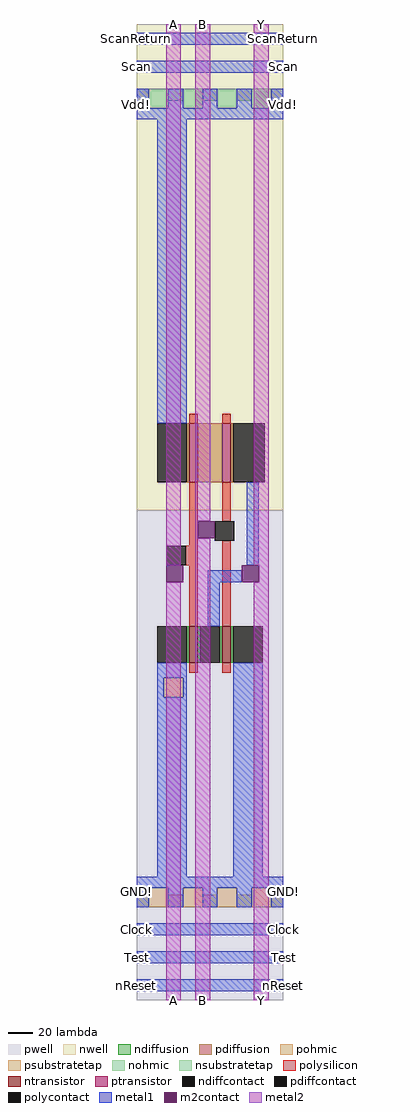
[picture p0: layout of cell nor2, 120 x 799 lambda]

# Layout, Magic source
magic
tech c035u
<< nwell >>
rect 0 401 120 799
<< pwell >>
rect 0 0 120 401
<< polysilicon >>
rect 43 472 50 480
rect 70 472 77 480
rect 43 372 50 424
rect 70 392 77 424
rect 40 356 50 372
rect 43 306 50 356
rect 70 306 77 376
rect 43 268 50 276
rect 70 268 77 276
<< ndiffusion >>
rect 41 276 43 306
rect 50 276 52 306
rect 68 276 70 306
rect 77 276 79 306
<< pdiffusion >>
rect 41 424 43 472
rect 50 424 70 472
rect 77 424 79 472
<< pohmic >>
rect 0 76 10 86
rect 26 76 38 86
rect 54 76 66 86
rect 82 76 94 86
rect 110 76 120 86
<< nohmic >>
rect 0 736 10 746
rect 26 736 38 746
rect 54 736 66 746
rect 82 736 94 746
rect 110 736 120 746
<< ntransistor >>
rect 43 276 50 306
rect 70 276 77 306
<< ptransistor >>
rect 43 424 50 472
rect 70 424 77 472
<< polycontact >>
rect 64 376 80 392
rect 24 356 40 372
<< ndiffcontact >>
rect 17 276 41 306
rect 52 276 68 306
rect 79 276 103 306
<< pdiffcontact >>
rect 17 424 41 472
rect 79 424 105 472
<< psubstratetap >>
rect 22 248 38 264
rect 10 76 26 92
rect 38 76 54 92
rect 66 76 82 92
rect 94 76 110 92
<< nsubstratetap >>
rect 10 730 26 746
rect 38 730 54 746
rect 66 730 82 746
rect 94 730 110 746
<< metal1 >>
rect 0 782 120 792
rect 0 759 120 769
rect 0 730 10 746
rect 26 730 38 746
rect 54 730 66 746
rect 82 730 94 746
rect 110 730 120 746
rect 0 721 120 730
rect 17 472 41 721
rect 90 356 100 424
rect 58 342 86 352
rect 58 306 68 342
rect 17 264 41 276
rect 17 248 22 264
rect 38 248 41 264
rect 17 101 41 248
rect 79 101 103 276
rect 0 92 120 101
rect 0 76 10 92
rect 26 76 38 92
rect 54 76 66 92
rect 82 76 94 92
rect 110 76 120 92
rect 0 53 120 63
rect 0 30 120 40
rect 0 7 120 17
<< m2contact >>
rect 50 378 64 392
rect 24 342 38 356
rect 86 342 100 356
<< metal2 >>
rect 24 356 36 799
rect 48 392 60 799
rect 48 378 50 392
rect 24 0 36 342
rect 48 0 60 378
rect 96 356 108 799
rect 100 342 108 356
rect 96 0 108 342
<< labels >>
rlabel metal1 0 721 0 746 3 Vdd!
rlabel metal1 0 782 0 792 3 ScanReturn
rlabel metal1 0 759 0 769 3 Scan
rlabel metal1 120 721 120 746 1 Vdd!
rlabel metal1 120 759 120 769 1 Scan
rlabel metal1 120 782 120 792 1 ScanReturn
rlabel metal1 0 7 0 17 3 nReset
rlabel metal1 0 30 0 40 3 Test
rlabel metal1 0 53 0 63 3 Clock
rlabel metal1 0 76 0 101 3 GND!
rlabel metal1 120 7 120 17 7 nReset
rlabel metal1 120 30 120 40 7 Test
rlabel metal1 120 53 120 63 7 Clock
rlabel metal1 120 76 120 101 7 GND!
rlabel metal2 24 0 36 0 1 A
rlabel metal2 48 0 60 0 1 B
rlabel metal2 24 799 36 799 5 A
rlabel metal2 48 799 60 799 5 B
rlabel metal2 96 0 108 0 1 Y
rlabel metal2 96 799 108 799 5 Y
<< end >>
